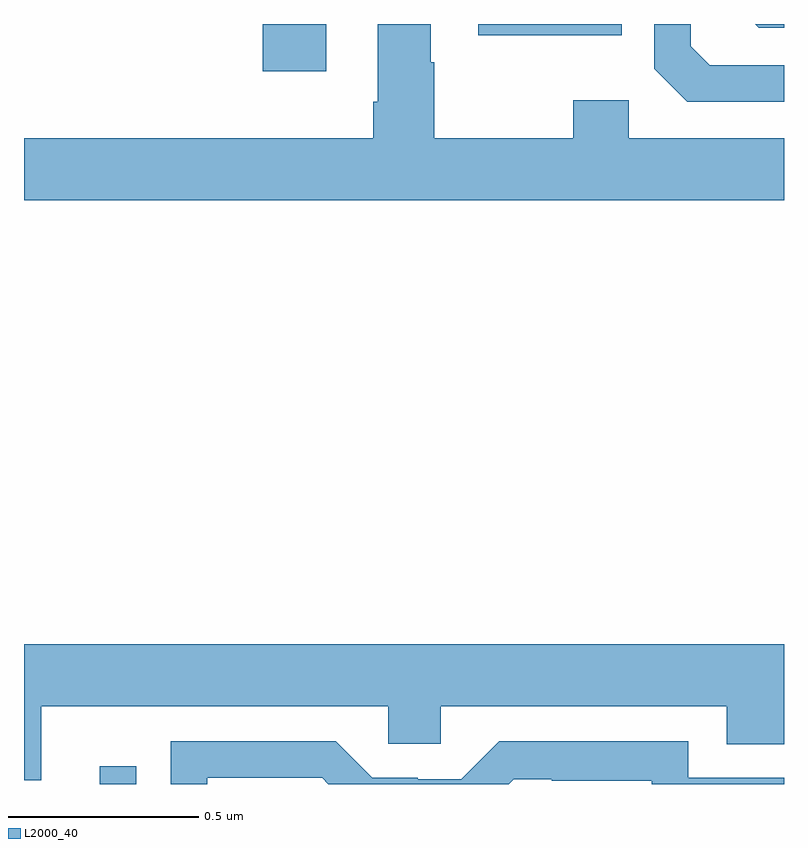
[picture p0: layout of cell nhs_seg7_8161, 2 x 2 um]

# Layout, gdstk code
import gdstk
lib = gdstk.Library(unit=1e-6, precision=1e-09)
def R(c, l, rs):  # rectangles x0, y0, x1, y1
    for r in rs: c.add(gdstk.rectangle(r[:2], r[2:], *l))
def P(c, l, *ps):  # polygons
    for p in ps: c.add(gdstk.Polygon(p, *l))
L2000_40 = (2000, 40)

nhs_seg7_8161 = lib.new_cell('nhs_seg7_8161')
R(nhs_seg7_8161, L2000_40, [(220.199,1079,220.295,1079.047), (220.628,1080.876,220.795,1081), (221.196,1080.971,221.573,1081)])
P(nhs_seg7_8161, L2000_40, [(222,1080.7),(221.592,1080.7),(221.592,1080.799),(221.446,1080.799),(221.446,1080.7),(221.079,1080.7),(221.079,1080.899),(221.071,1080.899),(221.071,1081),(220.931,1081),(220.931,1080.796),(220.919,1080.796),(220.919,1080.7),(220,1080.7),(220,1080.536),(222,1080.536)],
  [(222,1080.891),(221.805,1080.891),(221.754,1080.942),(221.754,1081),(221.658,1081),(221.658,1080.882),(221.745,1080.795),(222,1080.795)],
  [(222,1081),(221.924,1081),(221.934,1080.99),(222,1080.99)],
  [(220.045,1079.204),(220.959,1079.204),(220.959,1079.106),(221.097,1079.106),(221.097,1079.204),(221.849,1079.204),(221.849,1079.105),(222,1079.105),(222,1079.368),(220,1079.368),(220,1079.01),(220.045,1079.01)],
  [(220.482,1079.016),(220.785,1079.016),(220.801,1079),(221.276,1079),(221.289,1079.013),(221.389,1079.013),(221.389,1079.009),(221.652,1079.009),(221.652,1079),(222,1079),(222,1079.016),(221.748,1079.016),(221.748,1079.113),(221.251,1079.113),(221.151,1079.013),(221.036,1079.013),(221.036,1079.016),(220.917,1079.016),(220.821,1079.112),(220.386,1079.112),(220.386,1079),(220.482,1079)])

lib.write_gds('nhs_seg7_8161.gds')
